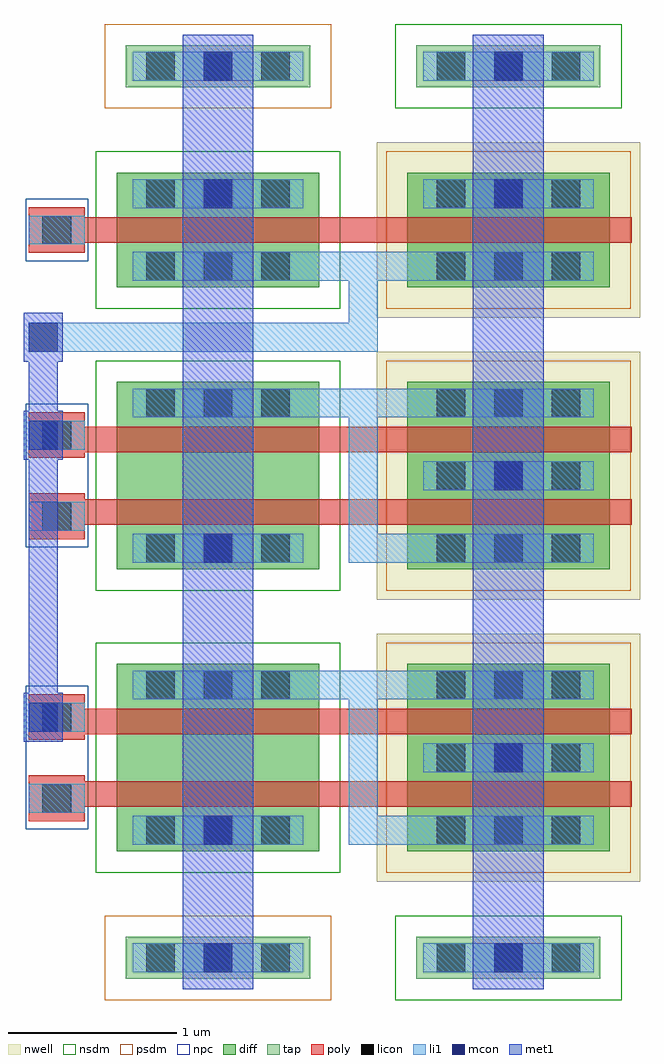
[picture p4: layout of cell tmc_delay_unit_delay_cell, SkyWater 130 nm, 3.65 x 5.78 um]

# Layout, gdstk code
import gdstk
lib = gdstk.Library(unit=1e-6, precision=1e-09)
def R(c, l, rs):  # rectangles x0, y0, x1, y1
    for r in rs: c.add(gdstk.rectangle(r[:2], r[2:], *l))
def A(c, l, x, y, w, h, nx, ny, dx, dy):  # array of equal rectangles
    R(c, l, [(x+i*dx, y+j*dy, x+i*dx+w, y+j*dy+h) for i in range(nx) for j in range(ny)])
nwell = (64, 20)
diff = (65, 20)
tap = (65, 44)
poly = (66, 20)
licon = (66, 44)
li1 = (67, 20)
mcon = (67, 44)
met1 = (68, 20)
nsdm = (93, 44)
psdm = (94, 20)
npc = (95, 20)

ntap_1x3h = lib.new_cell('ntap_1x3h')
R(ntap_1x3h, tap, [(-0.12,-0.04,0.97,0.21)])
A(ntap_1x3h, licon, 0, 0, 0.17, 0.17, 3, 1, 0.34, 0)
R(ntap_1x3h, li1, [(-0.08,0,0.93,0.17)])
R(ntap_1x3h, nsdm, [(-0.245,-0.165,1.095,0.335)])

ptap_1x3h = lib.new_cell('ptap_1x3h')
R(ptap_1x3h, tap, [(-0.12,-0.04,0.97,0.21)])
A(ptap_1x3h, licon, 0, 0, 0.17, 0.17, 3, 1, 0.34, 0)
R(ptap_1x3h, li1, [(-0.08,0,0.93,0.17)])
R(ptap_1x3h, psdm, [(-0.245,-0.165,1.095,0.335)])

polyc_1x1h = lib.new_cell('polyc_1x1h')
R(polyc_1x1h, poly, [(-0.08,-0.05,0.25,0.22)])
R(polyc_1x1h, licon, [(0,0,0.17,0.17)])
R(polyc_1x1h, li1, [(-0.08,0,0.25,0.17)])
R(polyc_1x1h, npc, [(-0.1,-0.1,0.27,0.27)])

ndiffc_1x3h = lib.new_cell('ndiffc_1x3h')
R(ndiffc_1x3h, diff, [(-0.06,-0.04,0.91,0.21)])
A(ndiffc_1x3h, licon, 0, 0, 0.17, 0.17, 3, 1, 0.34, 0)
R(ndiffc_1x3h, li1, [(-0.08,0,0.93,0.17)])
R(ndiffc_1x3h, nsdm, [(-0.185,-0.165,1.035,0.335)])

pdiffc_1x3h = lib.new_cell('pdiffc_1x3h')
R(pdiffc_1x3h, nwell, [(-0.24,-0.22,1.09,0.39)])
R(pdiffc_1x3h, diff, [(-0.06,-0.04,0.91,0.21)])
A(pdiffc_1x3h, licon, 0, 0, 0.17, 0.17, 3, 1, 0.34, 0)
R(pdiffc_1x3h, li1, [(-0.08,0,0.93,0.17)])
R(pdiffc_1x3h, psdm, [(-0.185,-0.165,1.035,0.335)])

ptx__nmos_svt_1200_150_1 = lib.new_cell('ptx__nmos_svt_1200_150_1__pmos_svt_1200_150_1')
R(ptx__nmos_svt_1200_150_1, nwell, [(1.54,-0.18,3.1,0.86)])
R(ptx__nmos_svt_1200_150_1, diff, [(0,0,1.2,0.68), (1.72,0,2.92,0.68)])
R(ptx__nmos_svt_1200_150_1, poly, [(-0.19,0.265,3.05,0.415)])
R(ptx__nmos_svt_1200_150_1, nsdm, [(-0.125,-0.125,1.325,0.805)])
R(ptx__nmos_svt_1200_150_1, psdm, [(1.595,-0.125,3.045,0.805)])
R(ptx__nmos_svt_1200_150_1, npc, [(-0.54,0.155,-0.17,0.525)])
ptx__nmos_svt_1200_150_1.add(gdstk.Reference(polyc_1x1h, (-0.44,0.255)))
ptx__nmos_svt_1200_150_1.add(gdstk.Reference(ndiffc_1x3h, (0.175,0.04)))
ptx__nmos_svt_1200_150_1.add(gdstk.Reference(pdiffc_1x3h, (1.895,0.04)))
ptx__nmos_svt_1200_150_1.add(gdstk.Reference(ndiffc_1x3h, (0.175,0.47)))
ptx__nmos_svt_1200_150_1.add(gdstk.Reference(pdiffc_1x3h, (1.895,0.47)))

tmc_delay_unit_delay_cel = lib.new_cell('tmc_delay_unit_delay_cell_inv')
R(tmc_delay_unit_delay_cel, li1, [(0.095,0.47,2.825,0.64)])
tmc_delay_unit_delay_cel.add(gdstk.Reference(ptx__nmos_svt_1200_150_1, (0,0)))

ptx__nmos_svt_1200_150_2 = lib.new_cell('ptx__nmos_svt_1200_150_2__pmos_svt_1200_150_2')
R(ptx__nmos_svt_1200_150_2, nwell, [(1.54,-0.18,3.1,1.29)])
R(ptx__nmos_svt_1200_150_2, diff, [(0,0,1.2,1.11), (1.72,0,2.92,1.11)])
R(ptx__nmos_svt_1200_150_2, poly, [(-0.19,0.265,3.05,0.415), (-0.19,0.695,3.05,0.845)])
R(ptx__nmos_svt_1200_150_2, nsdm, [(-0.125,-0.125,1.325,1.235)])
R(ptx__nmos_svt_1200_150_2, psdm, [(1.595,-0.125,3.045,1.235)])
R(ptx__nmos_svt_1200_150_2, npc, [(-0.54,0.13,-0.17,0.98)])
ptx__nmos_svt_1200_150_2.add(gdstk.Reference(polyc_1x1h, (-0.44,0.23)))
ptx__nmos_svt_1200_150_2.add(gdstk.Reference(polyc_1x1h, (-0.44,0.71)))
ptx__nmos_svt_1200_150_2.add(gdstk.Reference(ndiffc_1x3h, (0.175,0.04)))
ptx__nmos_svt_1200_150_2.add(gdstk.Reference(pdiffc_1x3h, (1.895,0.04)))
ptx__nmos_svt_1200_150_2.add(gdstk.Reference(pdiffc_1x3h, (1.895,0.47)))
ptx__nmos_svt_1200_150_2.add(gdstk.Reference(ndiffc_1x3h, (0.175,0.9)))
ptx__nmos_svt_1200_150_2.add(gdstk.Reference(pdiffc_1x3h, (1.895,0.9)))

c_tmc_delay_unit_delay_cel = lib.new_cell('tmc_delay_unit_delay_cell_nand')
R(c_tmc_delay_unit_delay_cel, li1, [(1.375,0.04,1.545,1.07), (1.375,0.04,2.825,0.21), (0.095,0.9,2.825,1.07)])
c_tmc_delay_unit_delay_cel.add(gdstk.Reference(ptx__nmos_svt_1200_150_2, (0,0)))

viali_1x1v = lib.new_cell('viali_1x1v')
R(viali_1x1v, li1, [(0,0,0.17,0.17)])
R(viali_1x1v, mcon, [(0,0,0.17,0.17)])
R(viali_1x1v, met1, [(-0.03,-0.06,0.2,0.23)])

viali_1x1h = lib.new_cell('viali_1x1h')
R(viali_1x1h, li1, [(0,0,0.17,0.17)])
R(viali_1x1h, mcon, [(0,0,0.17,0.17)])
R(viali_1x1h, met1, [(-0.06,-0.03,0.23,0.2)])

c_tmc_delay_unit_delay_cel_ = lib.new_cell('tmc_delay_unit_delay_cell_route')
R(c_tmc_delay_unit_delay_cel_, li1, [(-0.52,-0.38,1.545,-0.21), (1.375,-0.38,1.545,0.21), (0.095,0.04,2.825,0.21)])
R(c_tmc_delay_unit_delay_cel_, met1, [(0.39,-4.155,0.81,1.495), (2.11,-4.155,2.53,1.495), (-0.52,-2.63,-0.35,-0.21)])
c_tmc_delay_unit_delay_cel_.add(gdstk.Reference(viali_1x1v, (-0.52,-0.38)))
c_tmc_delay_unit_delay_cel_.add(gdstk.Reference(viali_1x1v, (-0.52,-2.63)))
c_tmc_delay_unit_delay_cel_.add(gdstk.Reference(viali_1x1v, (-0.52,-0.96)))
c_tmc_delay_unit_delay_cel_.add(gdstk.Reference(viali_1x1h, (2.235,0.47)))
c_tmc_delay_unit_delay_cel_.add(gdstk.Reference(viali_1x1h, (2.235,-1.2)))
c_tmc_delay_unit_delay_cel_.add(gdstk.Reference(viali_1x1h, (2.235,-2.87)))
c_tmc_delay_unit_delay_cel_.add(gdstk.Reference(viali_1x1h, (2.235,1.225)))
c_tmc_delay_unit_delay_cel_.add(gdstk.Reference(viali_1x1h, (2.235,-4.055)))
c_tmc_delay_unit_delay_cel_.add(gdstk.Reference(viali_1x1h, (0.515,0.47)))
c_tmc_delay_unit_delay_cel_.add(gdstk.Reference(viali_1x1h, (0.515,-1.63)))
c_tmc_delay_unit_delay_cel_.add(gdstk.Reference(viali_1x1h, (0.515,-3.3)))
c_tmc_delay_unit_delay_cel_.add(gdstk.Reference(viali_1x1h, (0.515,1.225)))
c_tmc_delay_unit_delay_cel_.add(gdstk.Reference(viali_1x1h, (0.515,-4.055)))

c_tmc_delay_unit_delay_cel__ = lib.new_cell('tmc_delay_unit_delay_cell')
c_tmc_delay_unit_delay_cel__.add(gdstk.Reference(ntap_1x3h, (1.895,1.225)))
c_tmc_delay_unit_delay_cel__.add(gdstk.Reference(ntap_1x3h, (1.895,-4.055)))
c_tmc_delay_unit_delay_cel__.add(gdstk.Reference(ptap_1x3h, (0.175,1.225)))
c_tmc_delay_unit_delay_cel__.add(gdstk.Reference(ptap_1x3h, (0.175,-4.055)))
c_tmc_delay_unit_delay_cel__.add(gdstk.Reference(tmc_delay_unit_delay_cel, (0,0.68), x_reflection=True))
c_tmc_delay_unit_delay_cel__.add(gdstk.Reference(c_tmc_delay_unit_delay_cel, (0,-1.67)))
c_tmc_delay_unit_delay_cel__.add(gdstk.Reference(c_tmc_delay_unit_delay_cel, (0,-3.34)))
c_tmc_delay_unit_delay_cel__.add(gdstk.Reference(c_tmc_delay_unit_delay_cel_, (0,0)))

lib.write_gds('tmc_delay_unit_delay_cell.gds')
